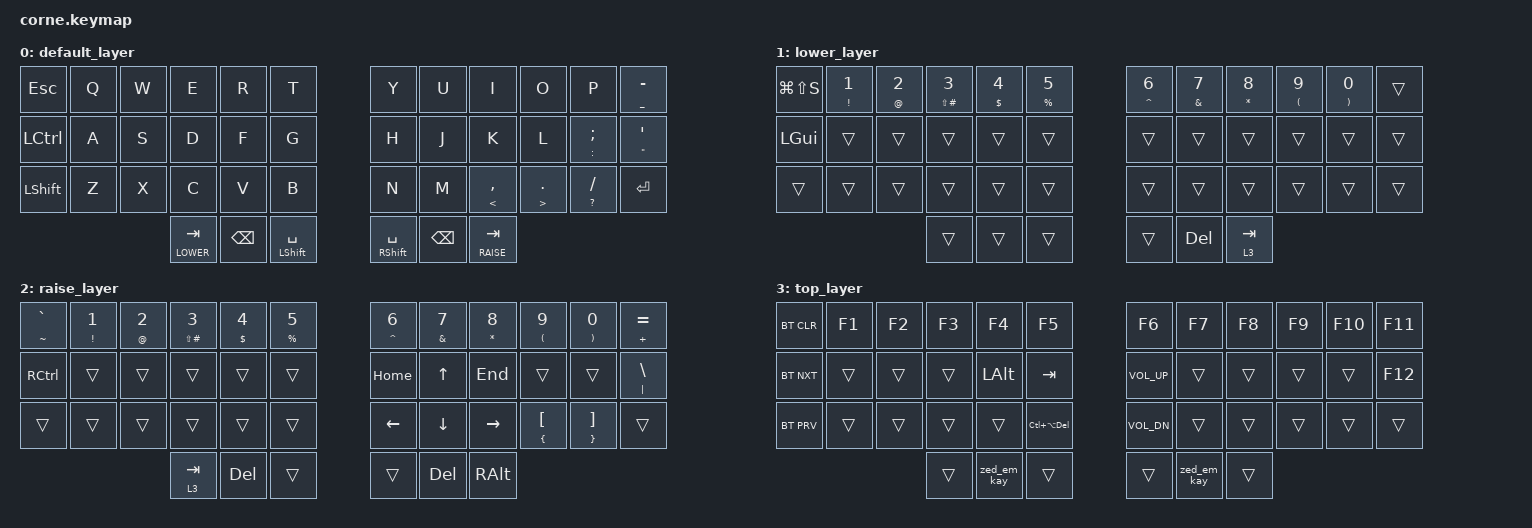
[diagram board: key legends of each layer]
/*
 * Copyright (c) 2020 The ZMK Contributors
 *
 * SPDX-License-Identifier: MIT
 */

#include <behaviors.dtsi>
#include <dt-bindings/zmk/bt.h>
#include <dt-bindings/zmk/keys.h>

#define DEFAULT 0
#define LOWER   1
#define RAISE   2

&mt {
    tapping-term-ms = <210>;
    flavor = "tap-preferred";
};

/ {
    macros {
        zed_em_kay: zed_em_kay {
            label = "ZM_zed_em_kay";
            compatible = "zmk,behavior-macro";
            #binding-cells = <0>;
            wait-ms = <40>;
            tap-ms = <40>;
            bindings
                = <&macro_press &kp LSHFT>
                , <&macro_tap &kp D>
                , <&macro_release &kp LSHFT>
                , <&macro_tap &kp I &kp C &kp K &kp S>
                , <&macro_tap &kp N1 &kp N2 &kp N3>
                , <&macro_press &kp LSHFT>
                , <&macro_tap &kp N1 &kp N2 &kp N3>
                , <&macro_release &kp LSHFT>
                , <&macro_tap &kp N1 &kp N2 &kp N3>
                ;
        };
    };
};

/ {
    keymap {
        compatible = "zmk,keymap";

        default_layer {
            // -----------------------------------------------------------------------------------------
            // |  esc |  Q  |  W  |  E  |  R  |  T  |   |  Y  |  U   |  I  |  O  |  P  | BKSP |
            // | CTRL |  A  |  S  |  D  |  F  |  G  |   |  H  |  J   |  K  |  L  |  ;  |  '   |
            // | SHFT |  Z  |  X  |  C  |  V  |  B  |   |  N  |  M   |  ,  |  .  |  /  | ESC  |
            //                    |  LWR TAB| LWR | SPC |   | ENT | RSE  | ALT |

            bindings = <
  &kp ESC  &kp Q  &kp W          &kp E     &kp R                 &kp T                    &kp Y     &kp U                &kp I                    &kp O                &kp P        &mt UNDER MINUS
&kp LCTRL  &kp A  &kp S          &kp D     &kp F                 &kp G                    &kp H     &kp J                &kp K                    &kp L  &mt COLON SEMICOLON  &mt DOUBLE_QUOTES SQT
&kp LSHFT  &kp Z  &kp X          &kp C     &kp V                 &kp B                    &kp N     &kp M  &mt LESS_THAN COMMA  &mt GREATER_THAN PERIOD   &mt QUESTION SLASH                &kp RET
                         &lt LOWER TAB  &kp BSPC  &mt LEFT_SHIFT SPACE    &mt RIGHT_SHIFT SPACE  &kp BSPC        &lt RAISE TAB
            >;
        };

        lower_layer {
            // -----------------------------------------------------------------------------------------
            // |  TAB |  1  |  2  |  3  |  4  |  5  |   |  6  |  7  |  8  |  9  |  0  | BKSP |
            // | BTCLR| BT1 | BT2 | BT3 | BT4 | BT5 |   | LFT | DWN |  UP | RGT |     |      |
            // | SHFT |     |     |     |     |     |   |     |     |     |     |     |      |
            //                    | GUI |     | SPC |   | ENT |     | ALT |

            bindings = <
&kp LG(LS(S))  &mt EXCL NUMBER_1  &mt AT_SIGN NUMBER_2  &mt LS(HASH) NUMBER_3  &mt DOLLAR NUMBER_4  &mt PERCENT NUMBER_5    &mt CARET NUMBER_6  &mt AMPERSAND NUMBER_7  &mt ASTERISK NUMBER_8  &mt LEFT_PARENTHESIS NUMBER_9  &mt RIGHT_PARENTHESIS NUMBER_0  &trans
     &kp LGUI             &trans                &trans                 &trans               &trans                &trans                &trans                  &trans                 &trans                         &trans                          &trans  &trans
       &trans             &trans                &trans                 &trans               &trans                &trans                &trans                  &trans                 &trans                         &trans                          &trans  &trans
                                                                       &trans               &trans                &trans                &trans                 &kp DEL              &lt 3 TAB
            >;
        };

        raise_layer {
            // -----------------------------------------------------------------------------------------
            // |  TAB |  !  |  @  |  #  |  $  |  %  |   |  ^  |  &  |  *  |  (  |  )  | BKSP |
            // | CTRL |     |     |     |     |     |   |  -  |  =  |  [  |  ]  |  \  |  `   |
            // | SHFT |     |     |     |     |     |   |  _  |  +  |  {  |  }  | "|" |  ~   |
            //                    | GUI |     | SPC |   | ENT |     | ALT |

            bindings = <
&mt TILDE GRAVE  &mt EXCL NUMBER_1  &mt AT_SIGN NUMBER_2  &mt LS(HASH) NUMBER_3  &mt DOLLAR NUMBER_4  &mt PERCENT NUMBER_5    &mt CARET NUMBER_6  &mt AMPERSAND NUMBER_7  &mt ASTERISK NUMBER_8  &mt LEFT_PARENTHESIS NUMBER_9  &mt RIGHT_PARENTHESIS NUMBER_0      &mt PLUS EQUAL
      &kp RCTRL             &trans                &trans                 &trans               &trans                &trans              &kp HOME                  &kp UP                &kp END                         &trans                          &trans  &mt PIPE BACKSLASH
         &trans             &trans                &trans                 &trans               &trans                &trans              &kp LEFT                &kp DOWN              &kp RIGHT    &mt LEFT_BRACE LEFT_BRACKET   &mt RIGHT_BRACE RIGHT_BRACKET              &trans
                                                                      &lt 3 TAB              &kp DEL                &trans                &trans                 &kp DEL               &kp RALT
            >;
        };

        top_layer {
            bindings = <
&bt BT_CLR  &kp F1  &kp F2  &kp F3        &kp F4           &kp F5             &kp F6  &kp F7  &kp F8  &kp F9  &kp F10  &kp F11
&bt BT_NXT  &trans  &trans  &trans  &kp LEFT_ALT          &kp TAB    &kp C_VOLUME_UP  &trans  &trans  &trans   &trans  &kp F12
&bt BT_PRV  &trans  &trans  &trans        &trans  &kp LC(LA(DEL))       &kp C_VOL_DN  &trans  &trans  &trans   &trans   &trans
                            &trans        &zed_em_kay            &trans             &trans  &zed_em_kay   &trans
            >;
        };
    };
};
